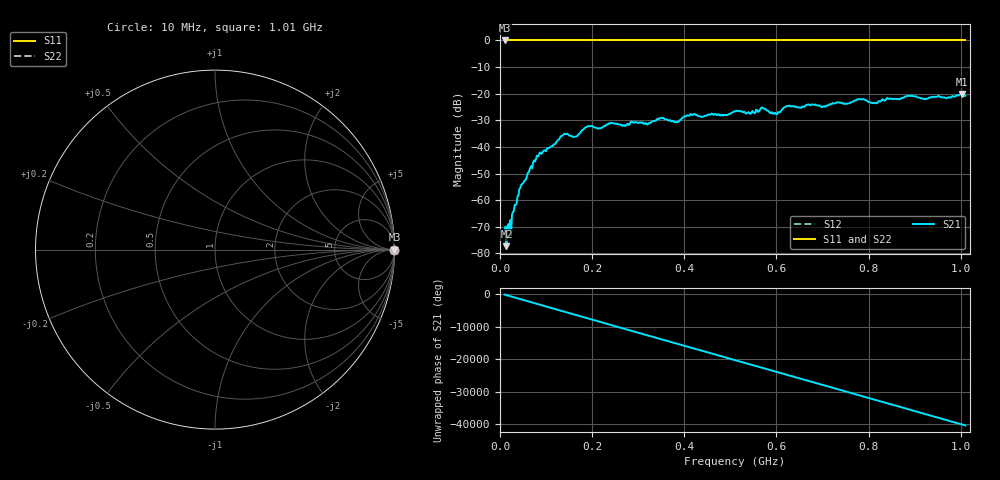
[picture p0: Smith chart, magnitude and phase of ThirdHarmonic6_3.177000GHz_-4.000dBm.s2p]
! 8/17/2025 9:34:54 AM
! C:\ANRITSUVNA\TEMP\TEMP.S2P
! CHANNEL.1
! TR.MEASUREMENT
! RAW.DATA
! RF.CORRECTION.OFF
! AVERAGING.OFF
! IF.BANDWIDTH: 5KHZ
! SWEEPTYPE:  FREQ.SWEEP(Linear)
! Reference Plane Port Info
! PORT:  PORT1  PORT2
! DISTANCE:  0  m  0  m
! TIME:  0  s  0  s
! PHASE.OFFSET:  0  deg.  0  deg.
! LOSS:  0  dB  0  dB
! REF.LOSS:  0  dB  0  dB
! REF.FREQ:  0  Hz  0  Hz
! Power Info
! POWER:  -20  dBm  -20  dBm
! EFF.POWER:  -20  dBm  -20  dBm
! SOURCE.ATTEN:  0  dB  0  dB
! TEST.ATTEN:  0  dB  0  dB
# GHZ S RI R 50.0
! FREQ.GHZ  S11RE  S11IM  S21RE  S21IM  S12RE  S12IM  S22RE  S22IM
!; PortSelection: Port_12
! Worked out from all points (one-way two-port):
!   501 points, 10 MHz to 1.01 GHz, reference 50 ohm
!   highest |S21| = -20.08 dB at 1.002 GHz (marker M1); lowest = -77.3 dB at 14 MHz (marker M2)
!   lowest |S11| = 0.0 dB at 10 MHz (marker M3)
!   |S11| at or under -10 dB: nowhere
!   |S22| runs from 0.0 to 0.0 dB; largest |S21 - S12| = 1.1
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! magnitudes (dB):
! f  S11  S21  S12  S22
! 10 MHz  0.0  -72.6  0.0  0.0
! 14 MHz  0.0  -77.3  0.0  0.0
! 24 MHz  0.0  -73.2  0.0  0.0
! 46 MHz  0.0  -54.2  0.0  0.0
! 84 MHz  0.0  -43.3  0.0  0.0
! 136 MHz  0.0  -35.7  0.0  0.0
! 164 MHz  0.0  -36.1  0.0  0.0
! 178 MHz  0.0  -33.7  0.0  0.0
! 194 MHz  0.0  -32.2  0.0  0.0
! 344 MHz  0.0  -29.6  0.0  0.0
! 382 MHz  0.0  -30.7  0.0  0.0
! 418 MHz  0.0  -28.0  0.0  0.0
! 510 MHz  0.0  -26.5  0.0  0.0
! 570 MHz  0.0  -25.3  0.0  0.0
! 598 MHz  0.0  -27.2  0.0  0.0
! 624 MHz  0.0  -24.6  0.0  0.0
! 678 MHz  0.0  -24.0  0.0  0.0
! 780 MHz  0.0  -22.0  0.0  0.0
! 814 MHz  0.0  -23.4  0.0  0.0
! 844 MHz  0.0  -21.9  0.0  0.0
! 1.002 GHz  0.0  -20.1  0.0  0.0
! 1.01 GHz  0.0  -20.7  0.0  0.0
